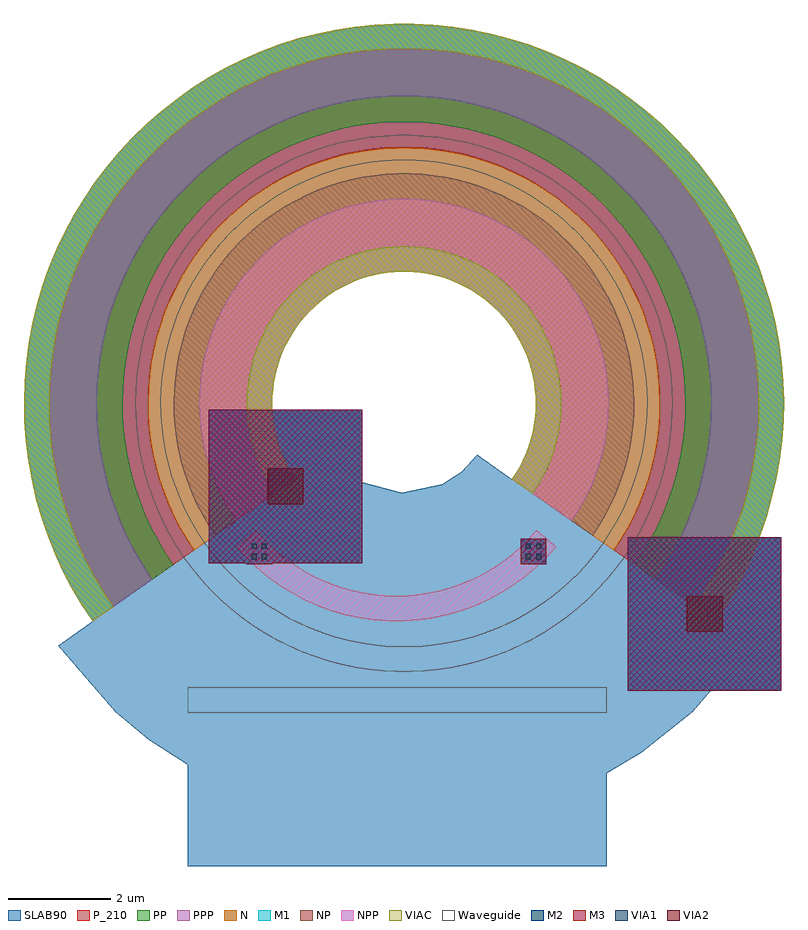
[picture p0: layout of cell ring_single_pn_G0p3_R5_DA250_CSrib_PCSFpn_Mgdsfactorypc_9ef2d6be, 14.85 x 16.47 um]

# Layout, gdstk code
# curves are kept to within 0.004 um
import gdstk
lib = gdstk.Library(unit=1e-6, precision=1e-09)
def R(c, l, rs):  # rectangles x0, y0, x1, y1
    for r in rs: c.add(gdstk.rectangle(r[:2], r[2:], *l))
def P(c, l, *ps):  # polygons
    for p in ps: c.add(gdstk.Polygon(p, *l))
Waveguide = (1, 0)
SLAB90 = (3, 0)
N = (20, 0)
P_210 = (21, 0)
NP = (22, 0)
PP = (23, 0)
NPP = (24, 0)
PPP = (25, 0)
VIAC = (40, 0)
M1 = (41, 0)
VIA2 = (43, 0)
VIA1 = (44, 0)
M2 = (45, 0)
M3 = (49, 0)

ring_single_pn_g0p3_r5_d = lib.new_cell('ring_single_pn_G0p3_R5_DA250_CSrib_PCSFpn_Mgdsfactorypc_9ef2d6be')
R(ring_single_pn_g0p3_r5_d, Waveguide, [(-4.096,-5.474,4.096,-4.974)])
P(ring_single_pn_g0p3_r5_d, Waveguide, [(-0.008,-4.673),(-0.28,-4.659),(-0.55,-4.631),(-0.82,-4.589),(-1.086,-4.533),(-1.349,-4.463),(-1.609,-4.38),(-1.863,-4.283),(-2.112,-4.173),(-2.355,-4.051),(-2.592,-3.915),(-2.822,-3.768),(-3.043,-3.609),(-3.255,-3.439),(-3.459,-3.258),(-3.653,-3.067),(-3.837,-2.866),(-4.01,-2.655),(-4.172,-2.436),(-4.32,-2.212),(-4.457,-1.98),(-4.583,-1.741),(-4.695,-1.497),(-4.795,-1.246),(-4.883,-0.991),(-4.956,-0.732),(-5.017,-0.469),(-5.063,-0.204),(-5.096,0.064),(-5.115,0.332),(-5.121,0.602),(-5.113,0.871),(-5.091,1.14),(-5.055,1.407),(-5.006,1.671),(-4.943,1.934),(-4.866,2.192),(-4.776,2.446),(-4.674,2.696),(-4.559,2.939),(-4.431,3.177),(-4.292,3.407),(-4.141,3.63),(-3.979,3.845),(-3.805,4.051),(-3.622,4.249),(-3.428,4.436),(-3.225,4.613),(-3.014,4.781),(-2.793,4.937),(-2.566,5.081),(-2.331,5.213),(-2.108,5.324),(0.007,5.324),(-0.237,5.311),(-0.479,5.286),(-0.72,5.248),(-0.959,5.198),(-1.194,5.137),(-1.427,5.063),(-1.655,4.977),(-1.879,4.88),(-2.097,4.771),(-2.31,4.652),(-2.515,4.521),(-2.714,4.38),(-2.906,4.229),(-3.089,4.069),(-3.264,3.899),(-3.43,3.72),(-3.587,3.534),(-3.734,3.339),(-3.87,3.138),(-3.997,2.929),(-4.112,2.714),(-4.217,2.493),(-4.309,2.268),(-4.39,2.039),(-4.459,1.805),(-4.516,1.567),(-4.561,1.328),(-4.593,1.086),(-4.614,0.843),(-4.621,0.599),(-4.617,0.355),(-4.599,0.113),(-4.569,-0.13),(-4.526,-0.37),(-4.472,-0.608),(-4.405,-0.842),(-4.326,-1.072),(-4.236,-1.299),(-4.134,-1.52),(-4.021,-1.736),(-3.897,-1.946),(-3.762,-2.15),(-3.616,-2.348),(-3.459,-2.538),(-3.293,-2.719),(-3.117,-2.893),(-2.933,-3.057),(-2.741,-3.211),(-2.54,-3.355),(-2.333,-3.488),(-2.119,-3.609),(-1.899,-3.721),(-1.674,-3.82),(-1.444,-3.908),(-1.208,-3.984),(-0.97,-4.046),(-0.729,-4.097),(-0.486,-4.135),(-0.241,-4.161),(0.006,-4.173),(0.251,-4.173),(0.498,-4.161),(0.744,-4.135),(0.987,-4.097),(1.228,-4.046),(1.466,-3.983),(1.701,-3.907),(1.932,-3.82),(2.156,-3.721),(2.376,-3.61),(2.591,-3.487),(2.798,-3.354),(2.998,-3.211),(3.19,-3.057),(3.375,-2.892),(3.55,-2.72),(3.716,-2.538),(3.873,-2.348),(4.02,-2.15),(4.154,-1.946),(4.278,-1.736),(4.391,-1.52),(4.494,-1.298),(4.584,-1.073),(4.662,-0.842),(4.729,-0.607),(4.784,-0.37),(4.826,-0.129),(4.856,0.113),(4.874,0.356),(4.878,0.6),(4.871,0.842),(4.851,1.086),(4.818,1.328),(4.773,1.567),(4.717,1.804),(4.648,2.038),(4.567,2.267),(4.474,2.493),(4.37,2.714),(4.255,2.929),(4.128,3.137),(3.992,3.34),(3.845,3.533),(3.688,3.72),(3.522,3.899),(3.347,4.069),(3.163,4.229),(2.972,4.38),(2.773,4.521),(2.566,4.651),(2.354,4.771),(2.137,4.88),(1.912,4.977),(1.684,5.063),(1.452,5.137),(1.216,5.199),(0.978,5.248),(0.737,5.286),(0.494,5.311),(0.25,5.323),(-2.108,5.324),(-1.843,5.441),(-1.591,5.536),(-1.334,5.617),(-1.073,5.686),(-0.81,5.741),(-0.543,5.782),(-0.275,5.81),(-0.006,5.823),(0.264,5.823),(0.533,5.809),(0.801,5.782),(1.067,5.74),(1.331,5.686),(1.591,5.617),(1.849,5.535),(2.1,5.441),(2.348,5.333),(2.589,5.212),(2.824,5.081),(3.051,4.937),(3.271,4.781),(3.483,4.614),(3.686,4.437),(3.878,4.249),(4.063,4.052),(4.236,3.845),(4.398,3.63),(4.55,3.407),(4.689,3.177),(4.816,2.939),(4.932,2.695),(5.035,2.446),(5.123,2.192),(5.2,1.933),(5.263,1.672),(5.312,1.406),(5.349,1.14),(5.371,0.871),(5.379,0.602),(5.373,0.332),(5.354,0.064),(5.321,-0.204),(5.274,-0.469),(5.214,-0.732),(5.14,-0.991),(5.053,-1.246),(4.953,-1.496),(4.84,-1.741),(4.715,-1.979),(4.578,-2.212),(4.429,-2.436),(4.267,-2.656),(4.094,-2.866),(3.91,-3.067),(3.716,-3.259),(3.513,-3.439),(3.3,-3.609),(3.079,-3.768),(2.85,-3.915),(2.613,-4.051),(2.37,-4.173),(2.121,-4.283),(1.866,-4.38),(1.606,-4.463),(1.343,-4.533),(1.077,-4.589),(0.808,-4.631),(0.537,-4.66),(0.265,-4.673)])
P(ring_single_pn_g0p3_r5_d, SLAB90, [(-4.096,-8.474),(-4.096,-6.488),(-4.855,-6.001),(-5.51,-5.449),(-6.629,-4.157),(-5.953,-3.684),(-6.165,-3.367),(-6.359,-3.039),(-6.535,-2.701),(-6.695,-2.355),(-6.836,-2.001),(-6.959,-1.64),(-7.064,-1.274),(-7.149,-0.901),(-7.215,-0.526),(-7.262,-0.148),(-7.289,0.232),(-7.297,0.613),(-7.286,0.994),(-7.254,1.374),(-7.203,1.751),(-7.133,2.126),(-7.044,2.497),(-6.936,2.862),(-6.835,3.148),(0.063,3.148),(-0.069,3.142),(-0.331,3.108),(-0.588,3.048),(-0.839,2.961),(-1.078,2.849),(-1.193,2.785),(-1.304,2.714),(-1.516,2.556),(-1.71,2.376),(-1.885,2.179),(-2.039,1.964),(-2.17,1.734),(-2.226,1.614),(-2.32,1.368),(-2.389,1.112),(-2.431,0.852),(-2.445,0.588),(-2.443,0.455),(-0.685,0.455),(-0.685,-0.97),(0.083,-1.173),(0.875,-1.007),(1.257,-0.762),(1.562,-0.428),(2.238,-0.902),(2.378,-0.678),(2.494,-0.441),(2.585,-0.193),(2.622,-0.066),(2.651,0.063),(2.691,0.324),(2.703,0.588),(2.688,0.852),(2.671,0.983),(2.646,1.113),(2.578,1.368),(2.534,1.492),(2.428,1.734),(2.365,1.85),(2.222,2.073),(2.058,2.28),(1.968,2.377),(1.873,2.469),(1.669,2.638),(1.45,2.784),(1.335,2.849),(1.095,2.961),(0.846,3.048),(0.589,3.108),(0.326,3.141),(0.195,3.148),(-6.835,3.148),(-6.664,3.574),(-6.501,3.919),(-6.321,4.255),(-6.124,4.581),(-5.91,4.897),(-5.68,5.201),(-5.435,5.493),(-5.175,5.772),(-4.902,6.037),(-4.615,6.288),(-4.316,6.523),(-4.005,6.743),(-3.683,6.948),(-3.351,7.136),(-3.01,7.305),(-2.66,7.457),(-2.303,7.591),(-1.94,7.707),(-1.571,7.803),(-1.198,7.881),(-0.821,7.94),(-0.442,7.978),(-0.062,7.998),(0.319,7.999),(0.7,7.979),(1.079,7.94),(1.456,7.881),(1.829,7.803),(2.198,7.706),(2.561,7.591),(2.918,7.457),(3.267,7.305),(3.608,7.135),(3.941,6.948),(4.262,6.744),(4.573,6.524),(4.873,6.288),(5.159,6.037),(5.434,5.771),(5.692,5.492),(5.938,5.201),(6.167,4.896),(6.382,4.581),(6.578,4.255),(6.759,3.919),(6.922,3.575),(7.067,3.222),(7.193,2.863),(7.302,2.497),(7.39,2.126),(7.461,1.751),(7.512,1.374),(7.543,0.994),(7.555,0.613),(7.547,0.232),(7.519,-0.148),(7.472,-0.526),(7.406,-0.902),(7.32,-1.273),(7.217,-1.64),(7.078,-2.041),(7.506,-2.041),(7.506,-5.041),(6.121,-5.041),(5.768,-5.449),(4.765,-6.25),(4.096,-6.656),(4.096,-8.474)])
P(ring_single_pn_g0p3_r5_d, N, [(-3.967,-2.293),(-4.109,-2.078),(-4.239,-1.859),(-4.359,-1.631),(-4.465,-1.398),(-4.561,-1.159),(-4.644,-0.916),(-4.714,-0.67),(-4.771,-0.419),(-4.816,-0.167),(-4.848,0.087),(-4.866,0.344),(-4.871,0.601),(-4.863,0.857),(-4.842,1.113),(-4.809,1.367),(-4.761,1.619),(-4.701,1.869),(-4.628,2.115),(-4.542,2.357),(-4.445,2.595),(-4.335,2.827),(-4.214,3.053),(-4.081,3.272),(-3.938,3.485),(-3.783,3.689),(-3.618,3.886),(-3.443,4.074),(-3.259,4.253),(-3.065,4.422),(-2.864,4.581),(-2.654,4.729),(-2.438,4.866),(-2.214,4.992),(-1.985,5.106),(-1.749,5.209),(-1.509,5.299),(-1.265,5.377),(-1.016,5.442),(-0.764,5.494),(-0.511,5.534),(-0.256,5.56),(0.001,5.573),(0.257,5.573),(0.513,5.56),(0.768,5.533),(1.023,5.494),(1.273,5.442),(1.521,5.377),(1.766,5.299),(2.006,5.209),(2.242,5.106),(2.472,4.993),(2.696,4.866),(2.912,4.728),(3.121,4.581),(3.323,4.422),(3.516,4.253),(3.7,4.074),(3.875,3.886),(4.04,3.69),(4.195,3.485),(4.339,3.273),(4.472,3.053),(4.593,2.826),(4.702,2.595),(4.801,2.357),(4.886,2.115),(4.958,1.869),(5.019,1.62),(5.065,1.367),(5.1,1.113),(5.121,0.857),(5.128,0.6),(5.123,0.344),(5.105,0.088),(5.074,-0.167),(5.029,-0.419),(4.971,-0.67),(4.901,-0.916),(4.818,-1.159),(4.723,-1.398),(4.617,-1.631),(4.497,-1.858),(4.367,-2.079),(4.224,-2.293),(2.238,-0.902),(2.378,-0.678),(2.439,-0.56),(2.543,-0.318),(2.585,-0.193),(2.622,-0.066),(2.674,0.193),(2.691,0.324),(2.703,0.588),(2.699,0.72),(2.671,0.983),(2.615,1.242),(2.578,1.368),(2.534,1.492),(2.428,1.734),(2.365,1.85),(2.222,2.073),(2.058,2.28),(1.873,2.469),(1.669,2.638),(1.45,2.784),(1.335,2.849),(1.095,2.961),(0.846,3.048),(0.589,3.108),(0.326,3.141),(0.195,3.148),(-0.069,3.142),(-0.331,3.108),(-0.588,3.048),(-0.839,2.961),(-0.959,2.908),(-1.193,2.785),(-1.304,2.714),(-1.516,2.556),(-1.71,2.376),(-1.885,2.179),(-2.039,1.964),(-2.107,1.85),(-2.17,1.734),(-2.276,1.492),(-2.358,1.241),(-2.389,1.112),(-2.431,0.852),(-2.441,0.72),(-2.443,0.456),(-2.433,0.324),(-2.394,0.063),(-2.328,-0.193),(-2.237,-0.44),(-2.182,-0.561),(-2.121,-0.678),(-1.981,-0.902)])
P(ring_single_pn_g0p3_r5_d, P_210, [(-5.953,-3.684),(-6.165,-3.367),(-6.359,-3.039),(-6.535,-2.701),(-6.695,-2.355),(-6.836,-2.001),(-6.959,-1.64),(-7.064,-1.274),(-7.149,-0.901),(-7.215,-0.526),(-7.262,-0.148),(-7.289,0.232),(-7.297,0.613),(-7.286,0.994),(-7.254,1.374),(-7.203,1.751),(-7.133,2.126),(-7.044,2.497),(-6.936,2.862),(-6.809,3.222),(-6.664,3.574),(-6.501,3.919),(-6.321,4.255),(-6.124,4.581),(-5.91,4.897),(-5.68,5.201),(-5.435,5.493),(-5.175,5.772),(-4.902,6.037),(-4.615,6.288),(-4.316,6.523),(-4.005,6.743),(-3.683,6.948),(-3.351,7.136),(-3.01,7.305),(-2.66,7.457),(-2.303,7.591),(-1.94,7.707),(-1.571,7.803),(-1.198,7.881),(-0.821,7.94),(-0.442,7.978),(-0.062,7.998),(0.319,7.999),(0.7,7.979),(1.079,7.94),(1.456,7.881),(1.829,7.803),(2.198,7.706),(2.561,7.591),(2.918,7.457),(3.267,7.305),(3.608,7.135),(3.941,6.948),(4.262,6.744),(4.573,6.524),(4.873,6.288),(5.159,6.037),(5.434,5.771),(5.692,5.492),(5.938,5.201),(6.167,4.896),(6.382,4.581),(6.578,4.255),(6.759,3.919),(6.922,3.575),(7.067,3.222),(7.193,2.863),(7.302,2.497),(7.39,2.126),(7.461,1.751),(7.512,1.374),(7.543,0.994),(7.555,0.613),(7.547,0.232),(7.519,-0.148),(7.472,-0.526),(7.406,-0.902),(7.32,-1.273),(7.217,-1.64),(7.094,-2.001),(6.952,-2.355),(6.793,-2.701),(6.617,-3.038),(6.422,-3.367),(6.21,-3.684),(4.224,-2.293),(4.367,-2.079),(4.497,-1.858),(4.617,-1.631),(4.723,-1.398),(4.818,-1.159),(4.901,-0.916),(4.971,-0.67),(5.029,-0.419),(5.074,-0.167),(5.105,0.088),(5.123,0.344),(5.128,0.6),(5.121,0.857),(5.1,1.113),(5.065,1.367),(5.019,1.62),(4.958,1.869),(4.886,2.115),(4.801,2.357),(4.702,2.595),(4.593,2.826),(4.472,3.053),(4.339,3.273),(4.195,3.485),(4.04,3.69),(3.875,3.886),(3.7,4.074),(3.516,4.253),(3.323,4.422),(3.121,4.581),(2.912,4.728),(2.696,4.866),(2.472,4.993),(2.242,5.106),(2.006,5.209),(1.766,5.299),(1.521,5.377),(1.273,5.442),(1.023,5.494),(0.768,5.533),(0.513,5.56),(0.257,5.573),(0.001,5.573),(-0.256,5.56),(-0.511,5.534),(-0.764,5.494),(-1.016,5.442),(-1.265,5.377),(-1.509,5.299),(-1.749,5.209),(-1.985,5.106),(-2.214,4.992),(-2.438,4.866),(-2.654,4.729),(-2.864,4.581),(-3.065,4.422),(-3.259,4.253),(-3.443,4.074),(-3.618,3.886),(-3.783,3.689),(-3.938,3.485),(-4.081,3.272),(-4.214,3.053),(-4.335,2.827),(-4.445,2.595),(-4.542,2.357),(-4.628,2.115),(-4.701,1.869),(-4.761,1.619),(-4.809,1.367),(-4.842,1.113),(-4.863,0.857),(-4.871,0.601),(-4.866,0.344),(-4.848,0.087),(-4.816,-0.167),(-4.771,-0.419),(-4.714,-0.67),(-4.644,-0.916),(-4.561,-1.159),(-4.465,-1.398),(-4.359,-1.631),(-4.239,-1.859),(-4.109,-2.078),(-3.967,-2.293)])
P(ring_single_pn_g0p3_r5_d, NP, [(3.815,-2.007),(2.238,-0.902),(2.378,-0.678),(2.439,-0.56),(2.543,-0.318),(2.585,-0.193),(2.622,-0.066),(2.674,0.193),(2.691,0.324),(2.703,0.588),(2.699,0.72),(2.671,0.983),(2.615,1.242),(2.578,1.368),(2.534,1.492),(2.428,1.734),(2.365,1.85),(2.222,2.073),(2.058,2.28),(1.873,2.469),(1.669,2.638),(1.45,2.784),(1.335,2.849),(1.095,2.961),(0.846,3.048),(0.589,3.108),(0.326,3.141),(0.195,3.148),(-0.069,3.142),(-0.331,3.108),(-0.46,3.081),(-0.588,3.048),(-0.839,2.961),(-1.078,2.849),(-1.193,2.785),(-1.304,2.714),(-1.516,2.556),(-1.71,2.376),(-1.8,2.28),(-1.965,2.073),(-2.039,1.964),(-2.17,1.734),(-2.226,1.614),(-2.32,1.368),(-2.358,1.241),(-2.413,0.983),(-2.431,0.852),(-2.445,0.588),(-2.443,0.456),(-2.416,0.193),(-2.394,0.063),(-2.328,-0.193),(-2.237,-0.44),(-2.182,-0.561),(-2.121,-0.678),(-1.981,-0.902),(-3.557,-2.006),(-3.685,-1.814),(-3.802,-1.615),(-3.91,-1.411),(-4.006,-1.201),(-4.091,-0.986),(-4.166,-0.767),(-4.229,-0.545),(-4.281,-0.32),(-4.321,-0.092),(-4.35,0.137),(-4.366,0.367),(-4.371,0.598),(-4.364,0.829),(-4.345,1.059),(-4.314,1.288),(-4.271,1.515),(-4.217,1.74),(-4.152,1.961),(-4.075,2.179),(-3.987,2.393),(-3.889,2.601),(-3.78,2.804),(-3.66,3.003),(-3.531,3.193),(-3.391,3.378),(-3.243,3.555),(-3.086,3.724),(-2.92,3.885),(-2.746,4.037),(-2.565,4.18),(-2.376,4.313),(-2.181,4.437),(-1.98,4.55),(-1.773,4.653),(-1.561,4.746),(-1.345,4.826),(-1.125,4.896),(-0.901,4.955),(-0.675,5.002),(-0.447,5.038),(-0.217,5.062),(0.014,5.073),(0.244,5.074),(0.475,5.062),(0.705,5.038),(0.933,5.002),(1.159,4.955),(1.383,4.897),(1.603,4.826),(1.818,4.745),(2.03,4.653),(2.237,4.55),(2.438,4.437),(2.633,4.314),(2.822,4.18),(3.003,4.037),(3.177,3.885),(3.343,3.724),(3.5,3.555),(3.649,3.378),(3.789,3.194),(3.918,3.002),(4.037,2.805),(4.146,2.601),(4.245,2.392),(4.333,2.179),(4.41,1.961),(4.475,1.739),(4.529,1.515),(4.571,1.288),(4.602,1.059),(4.622,0.829),(4.628,0.598),(4.624,0.368),(4.607,0.136),(4.578,-0.093),(4.538,-0.32),(4.487,-0.545),(4.423,-0.768),(4.349,-0.986),(4.264,-1.2),(4.167,-1.41),(4.059,-1.615),(3.942,-1.814)])
P(ring_single_pn_g0p3_r5_d, PP, [(-5.953,-3.684),(-6.165,-3.367),(-6.359,-3.039),(-6.535,-2.701),(-6.695,-2.355),(-6.836,-2.001),(-6.959,-1.64),(-7.064,-1.274),(-7.149,-0.901),(-7.215,-0.526),(-7.262,-0.148),(-7.289,0.232),(-7.297,0.613),(-7.286,0.994),(-7.254,1.374),(-7.203,1.751),(-7.133,2.126),(-7.044,2.497),(-6.936,2.862),(-6.809,3.222),(-6.664,3.574),(-6.501,3.919),(-6.321,4.255),(-6.124,4.581),(-5.91,4.897),(-5.68,5.201),(-5.435,5.493),(-5.175,5.772),(-4.902,6.037),(-4.615,6.288),(-4.316,6.523),(-4.005,6.743),(-3.683,6.948),(-3.351,7.136),(-3.01,7.305),(-2.66,7.457),(-2.303,7.591),(-1.94,7.707),(-1.571,7.803),(-1.198,7.881),(-0.821,7.94),(-0.442,7.978),(-0.062,7.998),(0.319,7.999),(0.7,7.979),(1.079,7.94),(1.456,7.881),(1.829,7.803),(2.198,7.706),(2.561,7.591),(2.918,7.457),(3.267,7.305),(3.608,7.135),(3.941,6.948),(4.262,6.744),(4.573,6.524),(4.873,6.288),(5.159,6.037),(5.434,5.771),(5.692,5.492),(5.938,5.201),(6.167,4.896),(6.382,4.581),(6.578,4.255),(6.759,3.919),(6.922,3.575),(7.067,3.222),(7.193,2.863),(7.302,2.497),(7.39,2.126),(7.461,1.751),(7.512,1.374),(7.543,0.994),(7.555,0.613),(7.547,0.232),(7.519,-0.148),(7.472,-0.526),(7.406,-0.902),(7.32,-1.273),(7.217,-1.64),(7.094,-2.001),(6.952,-2.355),(6.793,-2.701),(6.617,-3.038),(6.422,-3.367),(6.21,-3.684),(4.634,-2.58),(4.79,-2.344),(4.934,-2.101),(5.065,-1.851),(5.182,-1.595),(5.288,-1.333),(5.378,-1.066),(5.456,-0.794),(5.519,-0.519),(5.568,-0.241),(5.603,0.039),(5.623,0.321),(5.629,0.603),(5.62,0.885),(5.597,1.167),(5.559,1.446),(5.508,1.724),(5.441,1.998),(5.361,2.269),(5.268,2.535),(5.16,2.797),(5.039,3.051),(4.906,3.301),(4.76,3.542),(4.602,3.775),(4.431,4.002),(4.25,4.217),(4.058,4.424),(3.855,4.621),(3.642,4.806),(3.421,4.981),(3.19,5.144),(2.952,5.295),(2.706,5.434),(2.453,5.559),(2.194,5.673),(1.93,5.772),(1.661,5.857),(1.387,5.929),(1.112,5.986),(0.832,6.03),(0.552,6.058),(0.27,6.073),(-0.013,6.073),(-0.294,6.059),(-0.575,6.03),(-0.854,5.987),(-1.131,5.929),(-1.403,5.857),(-1.673,5.771),(-1.936,5.672),(-2.196,5.56),(-2.448,5.434),(-2.694,5.295),(-2.933,5.144),(-3.163,4.982),(-3.385,4.807),(-3.597,4.62),(-3.801,4.424),(-3.993,4.218),(-4.173,4.001),(-4.344,3.776),(-4.503,3.542),(-4.649,3.301),(-4.782,3.052),(-4.903,2.797),(-5.01,2.536),(-5.104,2.269),(-5.183,1.998),(-5.25,1.724),(-5.302,1.446),(-5.339,1.166),(-5.362,0.885),(-5.371,0.603),(-5.365,0.321),(-5.345,0.039),(-5.311,-0.241),(-5.262,-0.519),(-5.198,-0.794),(-5.121,-1.066),(-5.03,-1.333),(-4.925,-1.596),(-4.807,-1.851),(-4.676,-2.101),(-4.533,-2.345),(-4.377,-2.58)])
P(ring_single_pn_g0p3_r5_d, NPP, [(-0.163,-3.68),(-0.445,-3.66),(-0.728,-3.62),(-1.006,-3.561),(-1.279,-3.483),(-1.546,-3.386),(-1.806,-3.271),(-2.057,-3.136),(-2.299,-2.985),(-2.529,-2.818),(-2.746,-2.635),(-2.951,-2.438),(-3.142,-2.227),(-2.758,-1.905),(-2.592,-2.09),(-2.412,-2.264),(-2.221,-2.424),(-2.019,-2.571),(-1.807,-2.703),(-1.587,-2.821),(-1.359,-2.921),(-1.125,-3.007),(-0.885,-3.076),(-0.64,-3.128),(-0.394,-3.163),(-0.144,-3.18),(0.105,-3.18),(0.354,-3.163),(0.601,-3.128),(0.845,-3.076),(1.085,-3.007),(1.319,-2.922),(1.547,-2.821),(1.768,-2.704),(1.979,-2.571),(2.181,-2.425),(2.373,-2.264),(2.552,-2.09),(2.719,-1.905),(3.102,-2.226),(2.912,-2.438),(2.707,-2.636),(2.489,-2.819),(2.259,-2.986),(2.017,-3.137),(1.766,-3.27),(1.507,-3.386),(1.239,-3.483),(0.966,-3.561),(0.687,-3.621),(0.406,-3.66),(0.122,-3.68)],
  [(3.405,-1.72),(2.238,-0.902),(2.378,-0.678),(2.439,-0.56),(2.543,-0.318),(2.585,-0.193),(2.622,-0.066),(2.674,0.193),(2.691,0.324),(2.703,0.588),(2.699,0.72),(2.671,0.983),(2.615,1.242),(2.578,1.368),(2.534,1.492),(2.428,1.734),(2.296,1.963),(2.222,2.073),(2.058,2.28),(1.873,2.469),(1.669,2.638),(1.45,2.784),(1.335,2.849),(1.095,2.961),(0.846,3.048),(0.589,3.108),(0.326,3.141),(0.195,3.148),(-0.069,3.142),(-0.331,3.108),(-0.46,3.081),(-0.588,3.048),(-0.839,2.961),(-1.078,2.849),(-1.193,2.785),(-1.304,2.714),(-1.516,2.556),(-1.71,2.376),(-1.8,2.28),(-1.965,2.073),(-2.039,1.964),(-2.17,1.734),(-2.226,1.614),(-2.32,1.368),(-2.358,1.241),(-2.413,0.983),(-2.431,0.852),(-2.445,0.588),(-2.443,0.456),(-2.416,0.193),(-2.394,0.063),(-2.328,-0.193),(-2.237,-0.44),(-2.182,-0.561),(-2.121,-0.678),(-1.981,-0.902),(-3.148,-1.719),(-3.261,-1.548),(-3.366,-1.372),(-3.461,-1.189),(-3.547,-1.003),(-3.623,-0.813),(-3.689,-0.617),(-3.745,-0.421),(-3.791,-0.22),(-3.826,-0.018),(-3.852,0.185),(-3.867,0.39),(-3.871,0.595),(-3.865,0.8),(-3.847,1.005),(-3.82,1.209),(-3.783,1.41),(-3.735,1.61),(-3.676,1.807),(-3.608,2.001),(-3.53,2.19),(-3.442,2.376),(-3.345,2.557),(-3.239,2.733),(-3.123,2.902),(-3,3.067),(-2.869,3.224),(-2.729,3.374),(-2.581,3.517),(-2.426,3.652),(-2.265,3.779),(-2.098,3.898),(-1.924,4.007),(-1.745,4.108),(-1.561,4.2),(-1.373,4.282),(-1.181,4.354),(-0.985,4.417),(-0.787,4.469),(-0.586,4.511),(-0.383,4.542),(-0.179,4.562),(0.026,4.573),(0.231,4.573),(0.436,4.562),(0.641,4.542),(0.844,4.511),(1.044,4.468),(1.243,4.416),(1.439,4.354),(1.631,4.282),(1.819,4.2),(2.003,4.108),(2.182,4.008),(2.355,3.898),(2.523,3.779),(2.684,3.652),(2.838,3.517),(2.986,3.374),(3.125,3.224),(3.258,3.066),(3.381,2.902),(3.496,2.733),(3.603,2.557),(3.7,2.376),(3.788,2.191),(3.866,2),(3.934,1.807),(3.992,1.61),(4.04,1.41),(4.078,1.208),(4.105,1.005),(4.123,0.8),(4.128,0.596),(4.124,0.39),(4.109,0.185),(4.085,-0.019),(4.049,-0.22),(4.002,-0.42),(3.946,-0.618),(3.88,-0.812),(3.805,-1.003),(3.718,-1.19),(3.623,-1.371),(3.518,-1.548)])
P(ring_single_pn_g0p3_r5_d, PPP, [(-5.953,-3.684),(-6.165,-3.367),(-6.359,-3.039),(-6.535,-2.701),(-6.695,-2.355),(-6.836,-2.001),(-6.959,-1.64),(-7.064,-1.274),(-7.149,-0.901),(-7.215,-0.526),(-7.262,-0.148),(-7.289,0.232),(-7.297,0.613),(-7.286,0.994),(-7.254,1.374),(-7.203,1.751),(-7.133,2.126),(-7.044,2.497),(-6.936,2.862),(-6.809,3.222),(-6.664,3.574),(-6.501,3.919),(-6.321,4.255),(-6.124,4.581),(-5.91,4.897),(-5.68,5.201),(-5.435,5.493),(-5.175,5.772),(-4.902,6.037),(-4.615,6.288),(-4.316,6.523),(-4.005,6.743),(-3.683,6.948),(-3.351,7.136),(-3.01,7.305),(-2.66,7.457),(-2.303,7.591),(-1.94,7.707),(-1.571,7.803),(-1.198,7.881),(-0.821,7.94),(-0.442,7.978),(-0.062,7.998),(0.319,7.999),(0.7,7.979),(1.079,7.94),(1.456,7.881),(1.829,7.803),(2.198,7.706),(2.561,7.591),(2.918,7.457),(3.267,7.305),(3.608,7.135),(3.941,6.948),(4.262,6.744),(4.573,6.524),(4.873,6.288),(5.159,6.037),(5.434,5.771),(5.692,5.492),(5.938,5.201),(6.167,4.896),(6.382,4.581),(6.578,4.255),(6.759,3.919),(6.922,3.575),(7.067,3.222),(7.193,2.863),(7.302,2.497),(7.39,2.126),(7.461,1.751),(7.512,1.374),(7.543,0.994),(7.555,0.613),(7.547,0.232),(7.519,-0.148),(7.472,-0.526),(7.406,-0.902),(7.32,-1.273),(7.217,-1.64),(7.094,-2.001),(6.952,-2.355),(6.793,-2.701),(6.617,-3.038),(6.422,-3.367),(6.21,-3.684),(5.043,-2.867),(5.214,-2.61),(5.37,-2.345),(5.514,-2.072),(5.643,-1.793),(5.756,-1.507),(5.856,-1.215),(5.941,-0.919),(6.009,-0.618),(6.063,-0.316),(6.101,-0.009),(6.123,0.298),(6.129,0.606),(6.12,0.914),(6.094,1.22),(6.053,1.526),(5.997,1.828),(5.924,2.128),(5.837,2.423),(5.735,2.713),(5.618,2.999),(5.486,3.277),(5.341,3.548),(5.181,3.812),(5.008,4.067),(4.823,4.312),(4.625,4.548),(4.415,4.774),(4.193,4.988),(3.962,5.191),(3.72,5.382),(3.468,5.56),(3.209,5.725),(2.94,5.876),(2.664,6.013),(2.382,6.136),(2.094,6.245),(1.801,6.338),(1.503,6.416),(1.201,6.479),(0.897,6.525),(0.591,6.558),(0.283,6.573),(-0.026,6.573),(-0.333,6.557),(-0.639,6.526),(-0.943,6.479),(-1.245,6.416),(-1.543,6.337),(-1.836,6.244),(-2.125,6.136),(-2.407,6.013),(-2.683,5.876),(-2.951,5.725),(-3.211,5.56),(-3.463,5.381),(-3.704,5.191),(-3.936,4.989),(-4.158,4.774),(-4.368,4.549),(-4.565,4.313),(-4.75,4.067),(-4.923,3.811),(-5.083,3.548),(-5.229,3.277),(-5.36,2.999),(-5.478,2.714),(-5.58,2.423),(-5.667,2.128),(-5.74,1.829),(-5.796,1.526),(-5.836,1.22),(-5.862,0.914),(-5.871,0.606),(-5.865,0.298),(-5.843,-0.009),(-5.805,-0.315),(-5.751,-0.618),(-5.683,-0.918),(-5.598,-1.215),(-5.499,-1.507),(-5.384,-1.792),(-5.256,-2.072),(-5.114,-2.345),(-4.956,-2.61),(-4.786,-2.867)])
R(ring_single_pn_g0p3_r5_d, VIAC, [(-2.85,-2.466,-2.75,-2.366), (-2.65,-2.466,-2.55,-2.366), (2.51,-2.466,2.61,-2.366), (2.71,-2.466,2.81,-2.366), (-2.85,-2.266,-2.75,-2.166), (-2.65,-2.266,-2.55,-2.166), (2.51,-2.266,2.61,-2.166), (2.71,-2.266,2.81,-2.166)])
P(ring_single_pn_g0p3_r5_d, VIAC, [(-2.535,-1.395),(-2.535,-0.958),(-2.631,-0.781),(-2.697,-0.638),(-2.755,-0.492),(-2.806,-0.342),(-2.849,-0.19),(-2.884,-0.037),(-2.911,0.119),(-2.931,0.276),(-2.942,0.433),(-2.945,0.591),(-2.941,0.749),(-2.928,0.906),(-2.907,1.062),(-2.878,1.218),(-2.841,1.371),(-2.796,1.521),(-2.684,1.816),(-2.616,1.96),(-2.542,2.098),(-2.372,2.364),(-2.175,2.611),(-1.954,2.836),(-1.712,3.038),(-1.583,3.129),(-1.449,3.213),(-1.312,3.291),(-1.171,3.362),(-1.025,3.424),(-0.728,3.528),(-0.421,3.6),(-0.108,3.64),(0.207,3.648),(0.366,3.64),(0.522,3.624),(0.678,3.6),(0.832,3.568),(1.136,3.48),(1.428,3.361),(1.569,3.291),(1.84,3.129),(1.969,3.038),(2.092,2.94),(2.325,2.727),(2.433,2.611),(2.534,2.49),(2.717,2.234),(2.799,2.098),(2.874,1.96),(3.002,1.671),(3.054,1.522),(3.098,1.371),(3.135,1.217),(3.164,1.062),(3.185,0.906),(3.198,0.749),(3.203,0.591),(3.2,0.433),(3.189,0.276),(3.169,0.119),(3.106,-0.191),(3.063,-0.342),(3.012,-0.491),(2.953,-0.638),(2.887,-0.781),(2.815,-0.921),(2.648,-1.189),(2.238,-0.902),(2.378,-0.678),(2.494,-0.441),(2.543,-0.318),(2.622,-0.066),(2.651,0.063),(2.691,0.324),(2.7,0.456),(2.703,0.588),(2.688,0.852),(2.671,0.983),(2.615,1.242),(2.534,1.492),(2.428,1.734),(2.365,1.85),(2.222,2.073),(2.143,2.178),(1.968,2.377),(1.873,2.469),(1.669,2.638),(1.45,2.784),(1.335,2.849),(1.095,2.961),(0.846,3.048),(0.718,3.081),(0.589,3.108),(0.326,3.141),(0.063,3.148),(-0.069,3.142),(-0.331,3.108),(-0.588,3.048),(-0.839,2.961),(-1.078,2.849),(-1.193,2.785),(-1.304,2.714),(-1.516,2.556),(-1.71,2.376),(-1.885,2.179),(-2.039,1.964),(-2.107,1.85),(-2.17,1.734),(-2.276,1.492),(-2.358,1.241),(-2.389,1.112),(-2.431,0.852),(-2.441,0.72),(-2.443,0.456),(-2.433,0.324),(-2.394,0.063),(-2.328,-0.193),(-2.237,-0.44),(-2.121,-0.678),(-2.111,-0.695),(-1.835,-0.695),(-1.835,-1.395)],
  [(5.656,-3.891),(5.656,-3.191),(5.939,-3.191),(5.999,-3.101),(6.179,-2.795),(6.344,-2.481),(6.493,-2.157),(6.624,-1.827),(6.739,-1.491),(6.836,-1.149),(6.916,-0.802),(6.978,-0.453),(7.021,-0.1),(7.047,0.255),(7.054,0.61),(7.043,0.965),(7.015,1.32),(6.967,1.673),(6.902,2.021),(6.819,2.367),(6.718,2.708),(6.599,3.043),(6.464,3.372),(6.312,3.694),(6.144,4.007),(5.96,4.311),(5.761,4.605),(5.546,4.888),(5.319,5.161),(5.075,5.422),(4.82,5.669),(4.553,5.903),(4.274,6.123),(3.984,6.329),(3.683,6.519),(3.374,6.694),(3.056,6.852),(2.73,6.993),(2.397,7.118),(2.058,7.227),(1.715,7.317),(1.366,7.389),(1.015,7.444),(0.661,7.48),(0.307,7.498),(-0.049,7.498),(-0.404,7.48),(-0.757,7.444),(-1.109,7.389),(-1.457,7.317),(-1.8,7.226),(-2.14,7.118),(-2.472,6.994),(-2.798,6.852),(-3.116,6.693),(-3.426,6.519),(-3.726,6.328),(-4.016,6.123),(-4.295,5.903),(-4.564,5.669),(-4.819,5.422),(-5.06,5.161),(-5.289,4.888),(-5.504,4.605),(-5.703,4.311),(-5.887,4.007),(-6.055,3.694),(-6.206,3.372),(-6.343,3.044),(-6.461,2.708),(-6.561,2.367),(-6.644,2.022),(-6.709,1.672),(-6.757,1.32),(-6.786,0.966),(-6.797,0.61),(-6.79,0.255),(-6.764,-0.1),(-6.721,-0.453),(-6.659,-0.802),(-6.578,-1.149),(-6.482,-1.491),(-6.367,-1.827),(-6.235,-2.157),(-6.087,-2.481),(-5.922,-2.795),(-5.741,-3.102),(-5.544,-3.397),(-5.953,-3.684),(-6.165,-3.367),(-6.359,-3.039),(-6.535,-2.701),(-6.695,-2.355),(-6.836,-2.001),(-6.959,-1.64),(-7.064,-1.274),(-7.149,-0.901),(-7.215,-0.526),(-7.262,-0.148),(-7.289,0.232),(-7.297,0.613),(-7.286,0.994),(-7.254,1.374),(-7.203,1.751),(-7.133,2.126),(-7.044,2.497),(-6.936,2.862),(-6.809,3.222),(-6.664,3.574),(-6.501,3.919),(-6.321,4.255),(-6.124,4.581),(-5.91,4.897),(-5.68,5.201),(-5.435,5.493),(-5.175,5.772),(-4.902,6.037),(-4.615,6.288),(-4.316,6.523),(-4.005,6.743),(-3.683,6.948),(-3.351,7.136),(-3.01,7.305),(-2.66,7.457),(-2.303,7.591),(-1.94,7.707),(-1.571,7.803),(-1.198,7.881),(-0.821,7.94),(-0.442,7.978),(-0.062,7.998),(0.319,7.999),(0.7,7.979),(1.079,7.94),(1.456,7.881),(1.829,7.803),(2.198,7.706),(2.561,7.591),(2.918,7.457),(3.267,7.305),(3.608,7.135),(3.941,6.948),(4.262,6.744),(4.573,6.524),(4.873,6.288),(5.159,6.037),(5.434,5.771),(5.692,5.492),(5.938,5.201),(6.167,4.896),(6.382,4.581),(6.578,4.255),(6.759,3.919),(6.922,3.575),(7.067,3.222),(7.193,2.863),(7.302,2.497),(7.39,2.126),(7.461,1.751),(7.512,1.374),(7.543,0.994),(7.555,0.613),(7.547,0.232),(7.519,-0.148),(7.472,-0.526),(7.406,-0.902),(7.32,-1.273),(7.217,-1.64),(7.094,-2.001),(6.952,-2.355),(6.793,-2.701),(6.617,-3.038),(6.422,-3.367),(6.356,-3.466),(6.356,-3.891)])
R(ring_single_pn_g0p3_r5_d, M1, [(2.41,-2.566,2.91,-2.066)])
P(ring_single_pn_g0p3_r5_d, M1, [(-2.95,-2.566),(-2.95,-2.545),(-3.685,-2.545),(-3.685,0.455),(-2.942,0.455),(-2.941,0.749),(-2.928,0.906),(-2.907,1.062),(-2.878,1.218),(-2.841,1.371),(-2.743,1.671),(-2.684,1.816),(-2.616,1.96),(-2.542,2.098),(-2.46,2.233),(-2.372,2.364),(-2.276,2.49),(-2.175,2.611),(-2.067,2.726),(-1.954,2.836),(-1.712,3.038),(-1.583,3.129),(-1.449,3.213),(-1.312,3.291),(-1.171,3.362),(-0.878,3.479),(-0.728,3.528),(-0.575,3.567),(-0.421,3.6),(-0.264,3.624),(-0.108,3.64),(0.05,3.648),(0.366,3.64),(0.678,3.6),(0.832,3.568),(0.985,3.527),(1.136,3.48),(1.283,3.424),(1.428,3.361),(1.569,3.291),(1.84,3.129),(1.969,3.038),(2.092,2.94),(2.325,2.727),(2.433,2.611),(2.534,2.49),(2.717,2.234),(2.874,1.96),(2.941,1.817),(3.002,1.671),(3.054,1.522),(3.098,1.371),(3.135,1.217),(3.164,1.062),(3.185,0.906),(3.198,0.749),(3.2,0.433),(3.189,0.276),(3.169,0.119),(3.106,-0.191),(3.063,-0.342),(3.012,-0.491),(2.953,-0.638),(2.815,-0.921),(2.648,-1.189),(2.238,-0.902),(2.378,-0.678),(2.439,-0.56),(2.543,-0.318),(2.585,-0.193),(2.622,-0.066),(2.674,0.193),(2.691,0.324),(2.703,0.588),(2.699,0.72),(2.671,0.983),(2.615,1.242),(2.578,1.368),(2.534,1.492),(2.428,1.734),(2.365,1.85),(2.222,2.073),(2.058,2.28),(1.968,2.377),(1.873,2.469),(1.669,2.638),(1.45,2.784),(1.335,2.849),(1.095,2.961),(0.846,3.048),(0.718,3.081),(0.589,3.108),(0.326,3.141),(0.195,3.148),(-0.069,3.142),(-0.331,3.108),(-0.46,3.081),(-0.588,3.048),(-0.839,2.961),(-1.078,2.849),(-1.193,2.785),(-1.304,2.714),(-1.516,2.556),(-1.71,2.376),(-1.885,2.179),(-2.039,1.964),(-2.107,1.85),(-2.17,1.734),(-2.276,1.492),(-2.358,1.241),(-2.389,1.112),(-2.431,0.852),(-2.441,0.72),(-2.443,0.455),(-0.685,0.455),(-0.685,-2.545),(-2.45,-2.545),(-2.45,-2.566)],
  [(4.506,-5.041),(4.506,-2.041),(6.539,-2.041),(6.624,-1.827),(6.739,-1.491),(6.836,-1.149),(6.916,-0.802),(6.978,-0.453),(7.021,-0.1),(7.047,0.255),(7.054,0.61),(7.043,0.965),(7.015,1.32),(6.967,1.673),(6.902,2.021),(6.819,2.367),(6.718,2.708),(6.599,3.043),(6.464,3.372),(6.312,3.694),(6.144,4.007),(5.96,4.311),(5.761,4.605),(5.546,4.888),(5.319,5.161),(5.075,5.422),(4.82,5.669),(4.553,5.903),(4.274,6.123),(3.984,6.329),(3.683,6.519),(3.374,6.694),(3.056,6.852),(2.73,6.993),(2.397,7.118),(2.058,7.227),(1.715,7.317),(1.366,7.389),(1.015,7.444),(0.661,7.48),(0.307,7.498),(-0.049,7.498),(-0.404,7.48),(-0.757,7.444),(-1.109,7.389),(-1.457,7.317),(-1.8,7.226),(-2.14,7.118),(-2.472,6.994),(-2.798,6.852),(-3.116,6.693),(-3.426,6.519),(-3.726,6.328),(-4.016,6.123),(-4.295,5.903),(-4.564,5.669),(-4.819,5.422),(-5.06,5.161),(-5.289,4.888),(-5.504,4.605),(-5.703,4.311),(-5.887,4.007),(-6.055,3.694),(-6.206,3.372),(-6.343,3.044),(-6.461,2.708),(-6.561,2.367),(-6.644,2.022),(-6.709,1.672),(-6.757,1.32),(-6.786,0.966),(-6.797,0.61),(-6.79,0.255),(-6.764,-0.1),(-6.721,-0.453),(-6.659,-0.802),(-6.578,-1.149),(-6.482,-1.491),(-6.367,-1.827),(-6.235,-2.157),(-6.087,-2.481),(-5.922,-2.795),(-5.741,-3.102),(-5.544,-3.397),(-5.953,-3.684),(-6.165,-3.367),(-6.359,-3.039),(-6.535,-2.701),(-6.695,-2.355),(-6.836,-2.001),(-6.959,-1.64),(-7.064,-1.274),(-7.149,-0.901),(-7.215,-0.526),(-7.262,-0.148),(-7.289,0.232),(-7.297,0.613),(-7.286,0.994),(-7.254,1.374),(-7.203,1.751),(-7.133,2.126),(-7.044,2.497),(-6.936,2.862),(-6.809,3.222),(-6.664,3.574),(-6.501,3.919),(-6.321,4.255),(-6.124,4.581),(-5.91,4.897),(-5.68,5.201),(-5.435,5.493),(-5.175,5.772),(-4.902,6.037),(-4.615,6.288),(-4.316,6.523),(-4.005,6.743),(-3.683,6.948),(-3.351,7.136),(-3.01,7.305),(-2.66,7.457),(-2.303,7.591),(-1.94,7.707),(-1.571,7.803),(-1.198,7.881),(-0.821,7.94),(-0.442,7.978),(-0.062,7.998),(0.319,7.999),(0.7,7.979),(1.079,7.94),(1.456,7.881),(1.829,7.803),(2.198,7.706),(2.561,7.591),(2.918,7.457),(3.267,7.305),(3.608,7.135),(3.941,6.948),(4.262,6.744),(4.573,6.524),(4.873,6.288),(5.159,6.037),(5.434,5.771),(5.692,5.492),(5.938,5.201),(6.167,4.896),(6.382,4.581),(6.578,4.255),(6.759,3.919),(6.922,3.575),(7.067,3.222),(7.193,2.863),(7.302,2.497),(7.39,2.126),(7.461,1.751),(7.512,1.374),(7.543,0.994),(7.555,0.613),(7.547,0.232),(7.519,-0.148),(7.472,-0.526),(7.406,-0.902),(7.32,-1.273),(7.217,-1.64),(7.078,-2.041),(7.506,-2.041),(7.506,-5.041)])
R(ring_single_pn_g0p3_r5_d, VIA2, [(5.656,-3.891,6.356,-3.191), (-2.535,-1.395,-1.835,-0.695)])
R(ring_single_pn_g0p3_r5_d, VIA1, [(5.656,-3.891,6.356,-3.191), (-2.85,-2.466,-2.75,-2.366), (-2.65,-2.466,-2.55,-2.366), (2.51,-2.466,2.61,-2.366), (2.71,-2.466,2.81,-2.366), (-2.85,-2.266,-2.75,-2.166), (-2.65,-2.266,-2.55,-2.166), (2.51,-2.266,2.61,-2.166), (2.71,-2.266,2.81,-2.166), (-2.535,-1.395,-1.835,-0.695)])
R(ring_single_pn_g0p3_r5_d, M2, [(4.506,-5.041,7.506,-2.041), (2.41,-2.566,2.91,-2.066)])
P(ring_single_pn_g0p3_r5_d, M2, [(-2.95,-2.566),(-2.95,-2.545),(-3.685,-2.545),(-3.685,0.455),(-0.685,0.455),(-0.685,-2.545),(-2.45,-2.545),(-2.45,-2.566)])
R(ring_single_pn_g0p3_r5_d, M3, [(4.506,-5.041,7.506,-2.041), (2.41,-2.566,2.91,-2.066)])
P(ring_single_pn_g0p3_r5_d, M3, [(-2.95,-2.566),(-2.95,-2.545),(-3.685,-2.545),(-3.685,0.455),(-0.685,0.455),(-0.685,-2.545),(-2.45,-2.545),(-2.45,-2.566)])

lib.write_gds('ring_single_pn_G0p3_R5_DA250_CSrib_PCSFpn_Mgdsfactorypc_9ef2d6be.gds')
